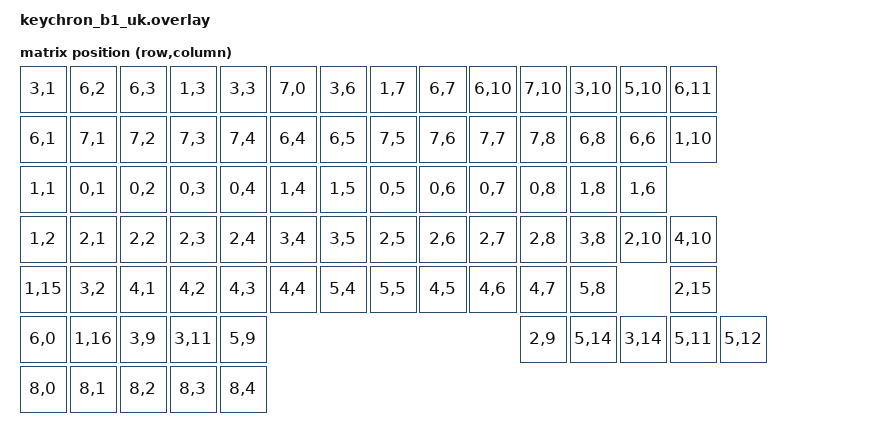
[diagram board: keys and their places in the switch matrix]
/*
 * Copyright (c) 2021 Nick Winans
 *
 * SPDX-License-Identifier: MIT
 */

#include <dt-bindings/zmk/matrix_transform.h>


/ {

    default_transform: keymap_transform_0 {
        compatible = "zmk,matrix-transform";
        columns = <18>;
        rows = <8>;
        map = <
            //esc        //f1        //f2       //f3          //f4       //f5     //f6            //f7        //f8        //f9      //f10     //f11          //f12      //del        
            RC(3,1)     RC(6,2)     RC(6,3)     RC(1,3)     RC(3,3)     RC(7,0)     RC(3,6)     RC(1,7)     RC(6,7)     RC(6,10)    RC(7,10)    RC(3,10)    RC(5,10)    RC(6,11)    
             //grave      //1      //2            //3      //4            //5        //6         //7       //8            //9       //0        //-           //+=       //back        
            RC(6,1)     RC(7,1)     RC(7,2)     RC(7,3)    RC(7,4)     RC(6,4)     RC(6,5)     RC(7,5)     RC(7,6)      RC(7,7)     RC(7,8)     RC(6,8)     RC(6,6)     RC(1,10)    
            //tab        //q         //w        //e         //r         // t         //y        //u         //i          //o         //p         //[         //]         
            RC(1,1)     RC(0,1)     RC(0,2)     RC(0,3)    RC(0,4)      RC(1,4)     RC(1,5)     RC(0,5)     RC(0,6)     RC(0,7)     RC(0,8)     RC(1,8)     RC(1,6)     
            //cap        //a         //s         //d        //f            //g      //h          //j        //k             //l      // ;        //' "       //NUHS     //enter
            RC(1,2)     RC(2,1)     RC(2,2)     RC(2,3)     RC(2,4)     RC(3,4)     RC(3,5)     RC(2,5)     RC(2,6)     RC(2,7)     RC(2,8)     RC(3,8)     RC(2,10)    RC(4,10) 
             //lshit     //NUBS      //z         //x         //c          //v         //b        //n         //m        //,<         //.>        //?/                    //rshit  
            RC(1,15)    RC(3,2)     RC(4,1)     RC(4,2)     RC(4,3)     RC(4,4)     RC(5,4)     RC(5,5)     RC(4,5)     RC(4,6)     RC(4,7)     RC(5,8)                 RC(2,15)
            //lctrl     //win l      //alt l                                         //space                        //alt gr      //fn      //left    //up      //down      //right    
            RC(6,0)     RC(1,16)    RC(3,9)                                         RC(3,11)                        RC(5,9)      RC(2,9)    RC(5,14) RC(3,14)   RC(5,11)    RC(5,12) 
            //m/w        //bt        //24g       //ch        //ch done   
            RC(8,0)     RC(8,1)     RC(8,2)     RC(8,3)     RC(8,4)
        >;
    };

};

